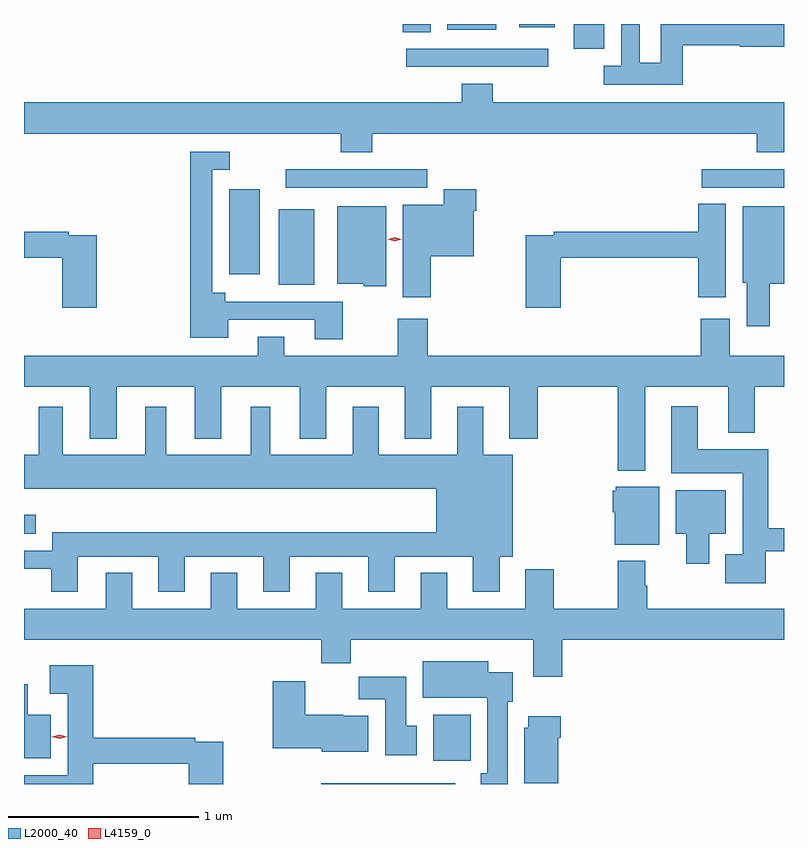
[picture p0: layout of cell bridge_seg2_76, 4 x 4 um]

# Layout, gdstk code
import gdstk
lib = gdstk.Library(unit=1e-6, precision=1e-09)
def R(c, l, rs):  # rectangles x0, y0, x1, y1
    for r in rs: c.add(gdstk.rectangle(r[:2], r[2:], *l))
def P(c, l, *ps):  # polygons
    for p in ps: c.add(gdstk.Polygon(p, *l))
L2000_40 = (2000, 40)
L4159_0 = (4159, 0)

bridge_seg2_76 = lib.new_cell('bridge_seg2_76')
R(bridge_seg2_76, L2000_40, [(366.275,656.201,366.979,656.206), (366.863,656.324,367.06,656.566), (364.71,657.518,364.771,657.619), (366.05,658.829,366.238,659.227), (365.789,658.884,365.95,659.332), (366.087,659.34,366.832,659.436), (368.277,659.34,368.71,659.436), (366.723,659.976,367.468,660.072), (367.604,660.071,367.765,660.201), (366.704,660.157,366.85,660.201), (366.938,660.17,367.195,660.201), (367.316,660.185,367.504,660.201)])
P(bridge_seg2_76, L2000_40, [(368.177,660.09),(368.478,660.09),(368.478,660.082),(368.71,660.082),(368.71,660.201),(368.061,660.201),(368.061,659.996),(367.95,659.996),(367.95,660.201),(367.854,660.201),(367.854,659.98),(367.761,659.98),(367.761,659.88),(368.177,659.88)],
  [(366.542,659.624),(368.567,659.624),(368.567,659.525),(368.71,659.525),(368.71,659.788),(367.178,659.788),(367.178,659.887),(367.013,659.887),(367.013,659.788),(364.71,659.788),(364.71,659.624),(366.377,659.624),(366.377,659.525),(366.542,659.525)],
  [(366.387,658.74),(365.77,658.74),(365.77,658.786),(365.7,658.786),(365.7,659.433),(365.794,659.433),(365.794,659.529),(365.584,659.529),(365.584,658.55),(365.785,658.55),(365.785,658.644),(366.239,658.644),(366.239,658.542),(366.387,658.542)],
  [(366.851,658.979),(367.078,658.979),(367.078,659.219),(367.091,659.219),(367.091,659.332),(366.92,659.332),(366.92,659.251),(366.704,659.251),(366.704,658.764),(366.851,658.764)],
  [(367.535,658.972),(368.258,658.972),(368.258,658.764),(368.404,658.764),(368.404,659.255),(368.258,659.255),(368.258,659.108),(367.498,659.108),(367.498,659.088),(367.352,659.088),(367.352,658.707),(367.535,658.707)],
  [(366.616,659.242),(366.359,659.242),(366.359,658.835),(366.498,658.835),(366.498,658.82),(366.616,658.82)],
  [(368.635,658.835),(368.71,658.835),(368.71,659.242),(368.492,659.242),(368.492,658.839),(368.513,658.839),(368.513,658.611),(368.635,658.611)],
  [(365.093,659.088),(364.946,659.088),(364.946,659.108),(364.71,659.108),(364.71,658.972),(364.91,658.972),(364.91,658.707),(365.093,658.707)],
  [(367.981,658.292),(368.417,658.292),(368.417,658.049),(368.557,658.049),(368.557,658.292),(368.71,658.292),(368.71,658.456),(368.425,658.456),(368.425,658.651),(368.273,658.651),(368.273,658.456),(366.836,658.456),(366.836,658.651),(366.676,658.651),(366.676,658.456),(366.079,658.456),(366.079,658.555),(365.939,658.555),(365.939,658.456),(364.71,658.456),(364.71,658.292),(365.057,658.292),(365.057,658.019),(365.197,658.019),(365.197,658.292),(365.609,658.292),(365.609,658.019),(365.749,658.019),(365.749,658.292),(366.161,658.292),(366.161,658.019),(366.301,658.019),(366.301,658.292),(366.713,658.292),(366.713,658.019),(366.853,658.019),(366.853,658.292),(367.265,658.292),(367.265,658.019),(367.413,658.019),(367.413,658.292),(367.834,658.292),(367.834,657.851),(367.981,657.851)],
  [(368.614,657.426),(368.71,657.426),(368.71,657.547),(368.627,657.547),(368.627,657.964),(368.257,657.964),(368.257,658.189),(368.117,658.189),(368.117,657.836),(368.492,657.836),(368.492,657.409),(368.402,657.409),(368.402,657.257),(368.614,657.257)],
  [(364.993,657.398),(365.417,657.398),(365.417,657.213),(365.557,657.213),(365.557,657.398),(365.969,657.398),(365.969,657.213),(366.109,657.213),(366.109,657.398),(366.521,657.398),(366.521,657.213),(366.661,657.213),(366.661,657.398),(367.073,657.398),(367.073,657.213),(367.213,657.213),(367.213,657.398),(367.282,657.398),(367.282,657.934),(367.126,657.934),(367.126,658.186),(366.989,658.186),(366.989,657.934),(366.577,657.934),(366.577,658.186),(366.44,658.186),(366.44,657.934),(366.007,657.934),(366.007,658.186),(365.903,658.186),(365.903,657.934),(365.458,657.934),(365.458,658.186),(365.348,658.186),(365.348,657.934),(364.915,657.934),(364.915,658.186),(364.787,658.186),(364.787,657.934),(364.71,657.934),(364.71,657.755),(366.881,657.755),(366.881,657.526),(364.859,657.526),(364.859,657.429),(364.71,657.429),(364.71,657.333),(364.853,657.333),(364.853,657.213),(364.993,657.213)],
  [(368.053,657.766),(367.824,657.766),(367.824,657.744),(367.808,657.744),(367.808,657.63),(367.82,657.63),(367.82,657.461),(368.053,657.461)],
  [(368.317,657.518),(368.404,657.518),(368.404,657.748),(368.141,657.748),(368.141,657.518),(368.195,657.518),(368.195,657.36),(368.317,657.36)],
  [(367.544,656.96),(368.71,656.96),(368.71,657.124),(367.989,657.124),(367.989,657.245),(367.981,657.245),(367.981,657.376),(367.834,657.376),(367.834,657.124),(367.497,657.124),(367.497,657.331),(367.349,657.331),(367.349,657.124),(366.937,657.124),(366.937,657.313),(366.797,657.313),(366.797,657.124),(366.385,657.124),(366.385,657.313),(366.245,657.313),(366.245,657.124),(365.833,657.124),(365.833,657.313),(365.693,657.313),(365.693,657.124),(365.281,657.124),(365.281,657.313),(365.141,657.313),(365.141,657.124),(364.71,657.124),(364.71,656.96),(366.275,656.96),(366.275,656.836),(366.431,656.836),(366.431,656.96),(367.391,656.96),(367.391,656.766),(367.544,656.766)],
  [(367.255,656.634),(367.282,656.634),(367.282,656.788),(367.153,656.788),(367.153,656.848),(366.809,656.848),(366.809,656.654),(367.148,656.654),(367.148,656.258),(367.115,656.258),(367.115,656.201),(367.255,656.201)],
  [(365.075,656.308),(365.576,656.308),(365.576,656.201),(365.759,656.201),(365.759,656.424),(365.612,656.424),(365.612,656.444),(365.075,656.444),(365.075,656.827),(364.845,656.827),(364.845,656.675),(364.94,656.675),(364.94,656.248),(364.71,656.248),(364.71,656.201),(365.075,656.201)],
  [(366.778,656.508),(366.721,656.508),(366.721,656.766),(366.472,656.766),(366.472,656.648),(366.611,656.648),(366.611,656.352),(366.778,656.352)],
  [(366.523,656.56),(366.39,656.56),(366.39,656.566),(366.19,656.566),(366.19,656.743),(366.02,656.743),(366.02,656.39),(366.276,656.39),(366.276,656.372),(366.523,656.372)],
  [(364.852,656.566),(364.729,656.566),(364.729,656.725),(364.71,656.725),(364.71,656.336),(364.852,656.336)],
  [(367.522,656.444),(367.535,656.444),(367.535,656.557),(367.364,656.557),(367.364,656.496),(367.343,656.496),(367.343,656.204),(367.522,656.204)])
P(bridge_seg2_76, L4159_0, [(366.661,659.058),(366.624,659.068),(366.624,659.068),(366.624,659.068),(366.66,659.078),(366.697,659.069),(366.697,659.069),(366.697,659.069)],
  [(364.897,656.439),(364.857,656.449),(364.857,656.449),(364.857,656.449),(364.897,656.459),(364.936,656.45),(364.937,656.45),(364.936,656.449)])

lib.write_gds('bridge_seg2_76.gds')
